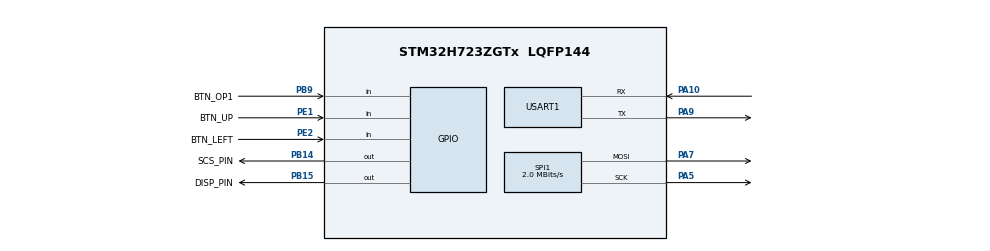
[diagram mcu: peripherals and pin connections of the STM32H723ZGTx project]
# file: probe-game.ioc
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CORTEX_M7.default_mode_Activation=1
Mcu.Family=STM32H7
Mcu.Name=STM32H723ZGTx
Mcu.Package=LQFP144
NVIC.PriorityGroup=NVIC_PRIORITYGROUP_4
PA10.GPIO_Speed=GPIO_SPEED_FREQ_VERY_HIGH
PA10.Mode=Asynchronous
PA10.Signal=USART1_RX
PA5.GPIO_Speed=GPIO_SPEED_FREQ_VERY_HIGH
PA5.Mode=TX_Only_Simplex_Unidirect_Master
PA5.Signal=SPI1_SCK
PA7.GPIO_Speed=GPIO_SPEED_FREQ_VERY_HIGH
PA7.Mode=TX_Only_Simplex_Unidirect_Master
PA7.Signal=SPI1_MOSI
PA9.GPIO_Speed=GPIO_SPEED_FREQ_VERY_HIGH
PA9.Mode=Asynchronous
PA9.Signal=USART1_TX
PB14.GPIO_Label=SCS_PIN
PB14.GPIO_Speed=GPIO_SPEED_FREQ_VERY_HIGH
PB14.PinState=GPIO_PIN_RESET
PB14.Signal=GPIO_Output
PB15.GPIO_Label=DISP_PIN
PB15.Signal=GPIO_Output
PB9.GPIO_Label=BTN_OP1
PB9.Signal=GPIO_Input
PE1.GPIO_Label=BTN_UP
PE1.Signal=GPIO_Input
PE2.GPIO_Label=BTN_LEFT
PE2.Signal=GPIO_Input
ProjectManager.HeapSize=0x200
ProjectManager.StackSize=0x400
ProjectManager.TargetToolchain=STM32CubeIDE
RCC.ADCFreq_Value=75000000
RCC.APB1Freq_Value=16000000
RCC.APB2Freq_Value=16000000
RCC.APB3Freq_Value=32000000
RCC.APB4Freq_Value=32000000
RCC.CortexFreq_Value=32000000
RCC.D2PPRE1=RCC_APB1_DIV2
RCC.D2PPRE2=RCC_APB2_DIV2
RCC.DIVM1=2
RCC.DIVN1=12
RCC.DIVN2=150
RCC.DIVN3=150
RCC.DIVQ1=3
RCC.HCLKFreq_Value=32000000
RCC.HSIDiv=RCC_PLLSAIDIVR_2
RCC.SYSCLKFreq_VALUE=32000000
RCC.USART16CLockSelection=RCC_USART16910CLKSOURCE_HSI
RCC.USBFreq_Value=64000000
SPI1.BaudRatePrescaler=SPI_BAUDRATEPRESCALER_32
SPI1.CLKPhase=SPI_PHASE_1EDGE
SPI1.CLKPolarity=SPI_POLARITY_HIGH
SPI1.CalculateBaudRate=2.0 MBits/s
SPI1.DataSize=SPI_DATASIZE_8BIT
SPI1.Direction=SPI_DIRECTION_2LINES_TXONLY
SPI1.Mode=SPI_MODE_MASTER
SPI1.NSSPMode=SPI_NSS_PULSE_DISABLE
SPI1.VirtualType=VM_MASTER
USART1.VirtualMode-Asynchronous=VM_ASYNC
VP_MEMORYMAP_VS_MEMORYMAP.Mode=CurAppReg
board=custom

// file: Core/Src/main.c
/* USER CODE BEGIN Header */
/**
 ******************************************************************************
 * @file           : main.c
 * @brief          : Main program body
 ******************************************************************************
 * @attention
 *
 * Copyright (c) 2025 STMicroelectronics.
 * All rights reserved.
 *
 * This software is licensed under terms that can be found in the LICENSE file
 * in the root directory of this software component.
 * If no LICENSE file comes with this software, it is provided AS-IS.
 *
 ******************************************************************************
 */
/* USER CODE END Header */
#include "main.h"

/* USER CODE BEGIN Includes */
#include <sys/time.h>
#include "lua.h"
#include "lualib.h"
#include "lauxlib.h"
#include "luaCode.h"
#include "LS027B7DH01.h"
#include "image2.h"
#include "stdio.h"
/* USER CODE END Includes */

SPI_HandleTypeDef hspi1;

UART_HandleTypeDef huart1;

/* USER CODE BEGIN PV */
static LS027B7DH01 MemDisp;
static lua_State* L;
/* USER CODE END PV */

void SystemClock_Config(void);
static void MPU_Config(void);
static void MX_GPIO_Init(void);
static void MX_SPI1_Init(void);
static void MX_USART1_UART_Init(void);
/* USER CODE BEGIN PFP */
void CallFunc(const char*);
/* USER CODE END PFP */

/* USER CODE BEGIN 0 */
#define MSG "DEADBEEF"
#ifdef __GNUC__
/* With GCC/RAISONANCE, small printf (option LD Linker->Libraries->Small printf
   set to 'Yes') calls __io_putchar() */
#define PUTCHAR_PROTOTYPE int __io_putchar(int ch)
#else
#define PUTCHAR_PROTOTYPE int fputc(int ch, FILE *f)
#endif /* __GNUC__ */
/* USER CODE END 0 */

int main(void)
{

  /* MPU Configuration--------------------------------------------------------*/
  MPU_Config();

  /* MCU Configuration--------------------------------------------------------*/

  /* Reset of all peripherals, Initializes the Flash interface and the Systick. */
  HAL_Init();

  /* Configure the system clock */
  SystemClock_Config();

  /* Initialize all configured peripherals */
  MX_GPIO_Init();
  MX_SPI1_Init();
  MX_USART1_UART_Init();
  /* USER CODE BEGIN 2 */
  printf(
      "\nUART Printf Example: retarget the C library printf function to the UART"
	  "\n** Test finished successfully. **\n");
  /* Pinout (MCU -> Display)
   * PA5  -> SCLK
   * PA7 -> SI
   * PB14 -> SCS
   * ???? -> EXTCOMIN
   * PB15 -> DISP
   */
  // ALL GPIO AND BUSES MUST BE INITED BEFORE CALL THIS FUNCTION
  HAL_Delay(100);
  LCD_Init(&MemDisp, &hspi1, SCS_PIN_GPIO_Port, SCS_PIN_Pin, DISP_PIN_Pin);
  // LCD_LoadPart((uint8_t *)GawrGura,10,1,30,240); //Sauce : @NotSafeForCode
  LCD_LoadFull((uint8_t *) image);
  L = luaL_newstate();
  luaL_openlibs(L);
  luaL_dostring(L, luaCode);
  /* USER CODE END 2 */

  /* Infinite loop */
  /* USER CODE BEGIN WHILE */
  LCD_ToggleVCOM(&MemDisp);
  LCD_ToggleVCOM(&MemDisp);
  HAL_Delay(10);
  while (1) {
    printf(MSG"\n");
    CallFunc("Update");
    LCD_Clean(&MemDisp);
    HAL_Delay(10);
    LCD_Update(&MemDisp);
    HAL_Delay(1000);

    if (HAL_GPIO_ReadPin(BTN_UP_GPIO_Port, BTN_UP_Pin) == GPIO_PIN_RESET) {
        printf("BTN_UP\n");
    }
    if (HAL_GPIO_ReadPin(BTN_LEFT_GPIO_Port, BTN_LEFT_Pin) == GPIO_PIN_RESET) {
        printf("BTN_LEFT\n");
    }
    if (HAL_GPIO_ReadPin(BTN_OP1_GPIO_Port, BTN_OP1_Pin) == GPIO_PIN_RESET) {
        printf("BTN_OP_1\n");
    }

    /* USER CODE END WHILE */

  }
}

void SystemClock_Config(void)
{
  RCC_OscInitTypeDef RCC_OscInitStruct = {0};
  RCC_ClkInitTypeDef RCC_ClkInitStruct = {0};

  /** Supply configuration update enable
  */
  HAL_PWREx_ConfigSupply(PWR_LDO_SUPPLY);

  /** Configure the main internal regulator output voltage
  */
  __HAL_PWR_VOLTAGESCALING_CONFIG(PWR_REGULATOR_VOLTAGE_SCALE3);

  while(!__HAL_PWR_GET_FLAG(PWR_FLAG_VOSRDY)) {}

  /** Initializes the RCC Oscillators according to the specified parameters
  * in the RCC_OscInitTypeDef structure.
  */
  RCC_OscInitStruct.OscillatorType = RCC_OSCILLATORTYPE_HSI;
  RCC_OscInitStruct.HSIState = RCC_HSI_DIV2;
  RCC_OscInitStruct.HSICalibrationValue = 64;
  RCC_OscInitStruct.PLL.PLLState = RCC_PLL_ON;
  RCC_OscInitStruct.PLL.PLLSource = RCC_PLLSOURCE_HSI;
  RCC_OscInitStruct.PLL.PLLM = 2;
  RCC_OscInitStruct.PLL.PLLN = 12;
  RCC_OscInitStruct.PLL.PLLP = 2;
  RCC_OscInitStruct.PLL.PLLQ = 3;
  RCC_OscInitStruct.PLL.PLLR = 2;
  RCC_OscInitStruct.PLL.PLLRGE = RCC_PLL1VCIRANGE_3;
  RCC_OscInitStruct.PLL.PLLVCOSEL = RCC_PLL1VCOWIDE;
  RCC_OscInitStruct.PLL.PLLFRACN = 0;
  if (HAL_RCC_OscConfig(&RCC_OscInitStruct) != HAL_OK)
  {
    Error_Handler();
  }

  /** Initializes the CPU, AHB and APB buses clocks
  */
  RCC_ClkInitStruct.ClockType = RCC_CLOCKTYPE_HCLK|RCC_CLOCKTYPE_SYSCLK
                              |RCC_CLOCKTYPE_PCLK1|RCC_CLOCKTYPE_PCLK2
                              |RCC_CLOCKTYPE_D3PCLK1|RCC_CLOCKTYPE_D1PCLK1;
  RCC_ClkInitStruct.SYSCLKSource = RCC_SYSCLKSOURCE_HSI;
  RCC_ClkInitStruct.SYSCLKDivider = RCC_SYSCLK_DIV1;
  RCC_ClkInitStruct.AHBCLKDivider = RCC_HCLK_DIV1;
  RCC_ClkInitStruct.APB3CLKDivider = RCC_APB3_DIV1;
  RCC_ClkInitStruct.APB1CLKDivider = RCC_APB1_DIV2;
  RCC_ClkInitStruct.APB2CLKDivider = RCC_APB2_DIV2;
  RCC_ClkInitStruct.APB4CLKDivider = RCC_APB4_DIV1;

  if (HAL_RCC_ClockConfig(&RCC_ClkInitStruct, FLASH_LATENCY_0) != HAL_OK)
  {
    Error_Handler();
  }
}

static void MX_SPI1_Init(void)
{

  /* SPI1 parameter configuration*/
  hspi1.Instance = SPI1;
  hspi1.Init.Mode = SPI_MODE_MASTER;
  hspi1.Init.Direction = SPI_DIRECTION_2LINES_TXONLY;
  hspi1.Init.DataSize = SPI_DATASIZE_8BIT;
  hspi1.Init.CLKPolarity = SPI_POLARITY_HIGH;
  hspi1.Init.CLKPhase = SPI_PHASE_1EDGE;
  hspi1.Init.NSS = SPI_NSS_SOFT;
  hspi1.Init.BaudRatePrescaler = SPI_BAUDRATEPRESCALER_32;
  hspi1.Init.FirstBit = SPI_FIRSTBIT_MSB;
  hspi1.Init.TIMode = SPI_TIMODE_DISABLE;
  hspi1.Init.CRCCalculation = SPI_CRCCALCULATION_DISABLE;
  hspi1.Init.CRCPolynomial = 0x0;
  hspi1.Init.NSSPMode = SPI_NSS_PULSE_DISABLE;
  hspi1.Init.NSSPolarity = SPI_NSS_POLARITY_LOW;
  hspi1.Init.FifoThreshold = SPI_FIFO_THRESHOLD_01DATA;
  hspi1.Init.TxCRCInitializationPattern = SPI_CRC_INITIALIZATION_ALL_ZERO_PATTERN;
  hspi1.Init.RxCRCInitializationPattern = SPI_CRC_INITIALIZATION_ALL_ZERO_PATTERN;
  hspi1.Init.MasterSSIdleness = SPI_MASTER_SS_IDLENESS_00CYCLE;
  hspi1.Init.MasterInterDataIdleness = SPI_MASTER_INTERDATA_IDLENESS_00CYCLE;
  hspi1.Init.MasterReceiverAutoSusp = SPI_MASTER_RX_AUTOSUSP_DISABLE;
  hspi1.Init.MasterKeepIOState = SPI_MASTER_KEEP_IO_STATE_DISABLE;
  hspi1.Init.IOSwap = SPI_IO_SWAP_DISABLE;
  if (HAL_SPI_Init(&hspi1) != HAL_OK)
  {
    Error_Handler();
  }

}

static void MX_USART1_UART_Init(void)
{

  huart1.Instance = USART1;
  huart1.Init.BaudRate = 115200;
  huart1.Init.WordLength = UART_WORDLENGTH_8B;
  huart1.Init.StopBits = UART_STOPBITS_1;
  huart1.Init.Parity = UART_PARITY_NONE;
  huart1.Init.Mode = UART_MODE_TX_RX;
  huart1.Init.HwFlowCtl = UART_HWCONTROL_NONE;
  huart1.Init.OverSampling = UART_OVERSAMPLING_16;
  huart1.Init.OneBitSampling = UART_ONE_BIT_SAMPLE_DISABLE;
  huart1.Init.ClockPrescaler = UART_PRESCALER_DIV1;
  huart1.AdvancedInit.AdvFeatureInit = UART_ADVFEATURE_NO_INIT;
  if (HAL_UART_Init(&huart1) != HAL_OK)
  {
    Error_Handler();
  }
  if (HAL_UARTEx_SetTxFifoThreshold(&huart1, UART_TXFIFO_THRESHOLD_1_8) != HAL_OK)
  {
    Error_Handler();
  }
  if (HAL_UARTEx_SetRxFifoThreshold(&huart1, UART_RXFIFO_THRESHOLD_1_8) != HAL_OK)
  {
    Error_Handler();
  }
  if (HAL_UARTEx_DisableFifoMode(&huart1) != HAL_OK)
  {
    Error_Handler();
  }

}

static void MX_GPIO_Init(void)
{
  GPIO_InitTypeDef GPIO_InitStruct = {0};

  /* GPIO Ports Clock Enable */
  __HAL_RCC_GPIOE_CLK_ENABLE();
  __HAL_RCC_GPIOA_CLK_ENABLE();
  __HAL_RCC_GPIOB_CLK_ENABLE();

  /*Configure GPIO pin Output Level */
  HAL_GPIO_WritePin(GPIOB, SCS_PIN_Pin|DISP_PIN_Pin, GPIO_PIN_RESET);

  /*Configure GPIO pins : BTN_LEFT_Pin BTN_UP_Pin */
  GPIO_InitStruct.Pin = BTN_LEFT_Pin|BTN_UP_Pin;
  GPIO_InitStruct.Mode = GPIO_MODE_INPUT;
  GPIO_InitStruct.Pull = GPIO_NOPULL;
  HAL_GPIO_Init(GPIOE, &GPIO_InitStruct);

  /*Configure GPIO pin : SCS_PIN_Pin */
  GPIO_InitStruct.Pin = SCS_PIN_Pin;
  GPIO_InitStruct.Mode = GPIO_MODE_OUTPUT_PP;
  GPIO_InitStruct.Pull = GPIO_NOPULL;
  GPIO_InitStruct.Speed = GPIO_SPEED_FREQ_VERY_HIGH;
  HAL_GPIO_Init(SCS_PIN_GPIO_Port, &GPIO_InitStruct);

  /*Configure GPIO pin : DISP_PIN_Pin */
  GPIO_InitStruct.Pin = DISP_PIN_Pin;
  GPIO_InitStruct.Mode = GPIO_MODE_OUTPUT_PP;
  GPIO_InitStruct.Pull = GPIO_NOPULL;
  GPIO_InitStruct.Speed = GPIO_SPEED_FREQ_LOW;
  HAL_GPIO_Init(DISP_PIN_GPIO_Port, &GPIO_InitStruct);

  /*Configure GPIO pin : BTN_OP1_Pin */
  GPIO_InitStruct.Pin = BTN_OP1_Pin;
  GPIO_InitStruct.Mode = GPIO_MODE_INPUT;
  GPIO_InitStruct.Pull = GPIO_NOPULL;
  HAL_GPIO_Init(BTN_OP1_GPIO_Port, &GPIO_InitStruct);

}

/* USER CODE BEGIN 4 */

/**
 * @brief  Retargets the C library printf function to the USART.
 * @param  None
 * @retval None
 */
PUTCHAR_PROTOTYPE {
  /* Place your implementation of fputc here */
  /* e.g. write a character to the USART1 and Loop until the end of transmission */
  HAL_UART_Transmit(&huart1, (uint8_t *) &ch, 1, HAL_MAX_DELAY);

  return ch;
}

void CallFunc(const char* name) {
  lua_getglobal(L, name);
  if (lua_isfunction(L, -1)) {
    if (lua_pcall(L, 0, 0, 0) != LUA_OK) {
      const char* msg = lua_tostring(L, -1);
      printf("[error] lua: %s", msg);
    }
  } else {
    printf("[error] lua: %s is not a function", name);
  }
}

int _gettimeofday(struct timeval *tv, void *tzvp ) {
    // TODO: add real clock
    // our time starts since the start of the micro-controller
    uint32_t tick = HAL_GetTick();
    tv->tv_sec = tick / 1000;
    tv->tv_usec = tick % 1000;
    return 0;  // return non-zero for error
}

/* USER CODE END 4 */

 /* MPU Configuration */

void MPU_Config(void)
{
  MPU_Region_InitTypeDef MPU_InitStruct = {0};

  /* Disables the MPU */
  HAL_MPU_Disable();

  /** Initializes and configures the Region and the memory to be protected
  */
  MPU_InitStruct.Enable = MPU_REGION_ENABLE;
  MPU_InitStruct.Number = MPU_REGION_NUMBER0;
  MPU_InitStruct.BaseAddress = 0x0;
  MPU_InitStruct.Size = MPU_REGION_SIZE_4GB;
  MPU_InitStruct.SubRegionDisable = 0x87;
  MPU_InitStruct.TypeExtField = MPU_TEX_LEVEL0;
  MPU_InitStruct.AccessPermission = MPU_REGION_NO_ACCESS;
  MPU_InitStruct.DisableExec = MPU_INSTRUCTION_ACCESS_DISABLE;
  MPU_InitStruct.IsShareable = MPU_ACCESS_SHAREABLE;
  MPU_InitStruct.IsCacheable = MPU_ACCESS_NOT_CACHEABLE;
  MPU_InitStruct.IsBufferable = MPU_ACCESS_NOT_BUFFERABLE;

  HAL_MPU_ConfigRegion(&MPU_InitStruct);
  /* Enables the MPU */
  HAL_MPU_Enable(MPU_PRIVILEGED_DEFAULT);

}

void Error_Handler(void)
{
  __disable_irq();
  while (1) {
  }
}
